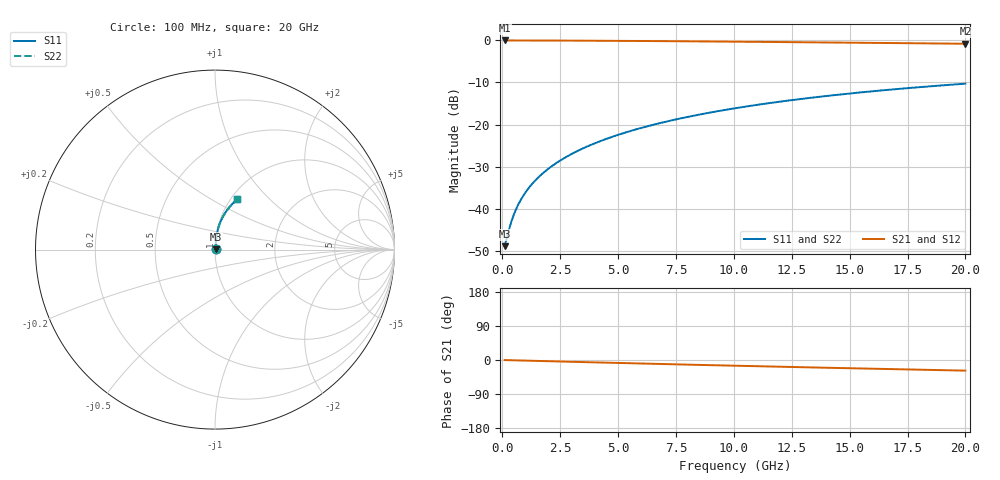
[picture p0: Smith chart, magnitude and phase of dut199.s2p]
! Touchstone file exported from HFSS 2024.1.0
!  File:  C:/UserFiles/LocalFiles/RDL_TSV_Batchsim/temp_RDL_bottom_199_1778699493.aedt
!  Generated:  03:14:33 AM May 14, 2026
!  Design:  RDL_bottom
!  Project:  temp_RDL_bottom_199_1778699493
!  Setup:  Setup1
!  Solution:  Sweep
! Variables:
!  dtsv = 10.80580581um
!  hbump = 3um
!  htsv = 64.48um
!  ldown = 357.54um
!  lrdl = 100um
!  p = 40
!  p1 = 45.79um
!  rhole = 1um
!  t = 450um
!  tdown = 2.34um
!  trdl = 3.915915916um
!  wdown = 18.27um
!  wrdl = 20um
# GHz S MA R 50.000000
! Terminal data exported
! Port[1] = RDL1_T1
! Port[2] = RDL1_T2
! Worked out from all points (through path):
!   200 points, 100 MHz to 20 GHz, reference 50 ohm
!   highest |S21| = -0.03 dB at 100 MHz (marker M1); lowest = -0.8 dB at 20 GHz (marker M2)
!   group delay of S21, straight-line fit = 3.88 ps
!   lowest |S11| = -48.8 dB at 100 MHz (marker M3), VSWR 1.01, Z = 50.3 + j0.161 ohm
!   |S11| at or under -10 dB: start of sweep to end of sweep
!   |S22| runs from -48.8 to -10.3 dB; largest |S21 - S12| = 3.4e-15
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0.1  0.003618 26.2  0.9968 -0.2  0.9968 -0.2  0.003618 26.2
! Gamma 0 0 0 0
! Port Impedance 50 0 50 0
0.3  0.00583 54.6  0.9966 -0.5  0.9966 -0.5  0.00583 54.6
0.4  0.007185 61.1  0.9965 -0.7  0.9965 -0.7  0.007185 61.1
0.5  0.008582 65.4  0.9963 -0.8  0.9963 -0.8  0.008582 65.4
0.6  0.009995 68.4  0.9962 -1.0  0.9962 -1.0  0.009995 68.4
0.7  0.01141 70.7  0.9961 -1.1  0.9961 -1.1  0.01141 70.7
0.9  0.01426 74.0  0.9958 -1.5  0.9958 -1.5  0.01426 74.0
1.2  0.01854 77.1  0.9954 -1.9  0.9954 -1.9  0.01854 77.1
1.4  0.02142 78.5  0.9952 -2.2  0.9952 -2.2  0.02142 78.5
1.7  0.02576 80.0  0.9947 -2.7  0.9947 -2.7  0.02576 80.0
2.2  0.03308 81.6  0.9938 -3.5  0.9938 -3.5  0.03308 81.6
2.8  0.04199 82.7  0.9926 -4.4  0.9926 -4.4  0.04199 82.7
3.5  0.05254 83.3  0.9908 -5.5  0.9908 -5.5  0.05254 83.3
4.2  0.06325 83.5  0.9888 -6.6  0.9888 -6.6  0.06325 83.5
5  0.07567 83.4  0.9861 -7.8  0.9861 -7.8  0.07567 83.4
5.9  0.08984 83.0  0.9828 -9.2  0.9828 -9.2  0.08983 83.0
6.8  0.1042 82.4  0.9791 -10.5  0.9791 -10.5  0.1042 82.3
8.4  0.1299 80.8  0.9721 -12.8  0.9721 -12.8  0.1299 80.8
10.1  0.1572 78.9  0.9641 -15.2  0.9641 -15.2  0.1572 78.9
13.4  0.2095 74.7  0.9474 -19.7  0.9474 -19.7  0.2095 74.7
16.7  0.2594 70.4  0.9296 -23.9  0.9296 -23.9  0.2593 70.4
20  0.3062 66.1  0.9109 -28.1  0.9109 -28.1  0.3061 66.1
